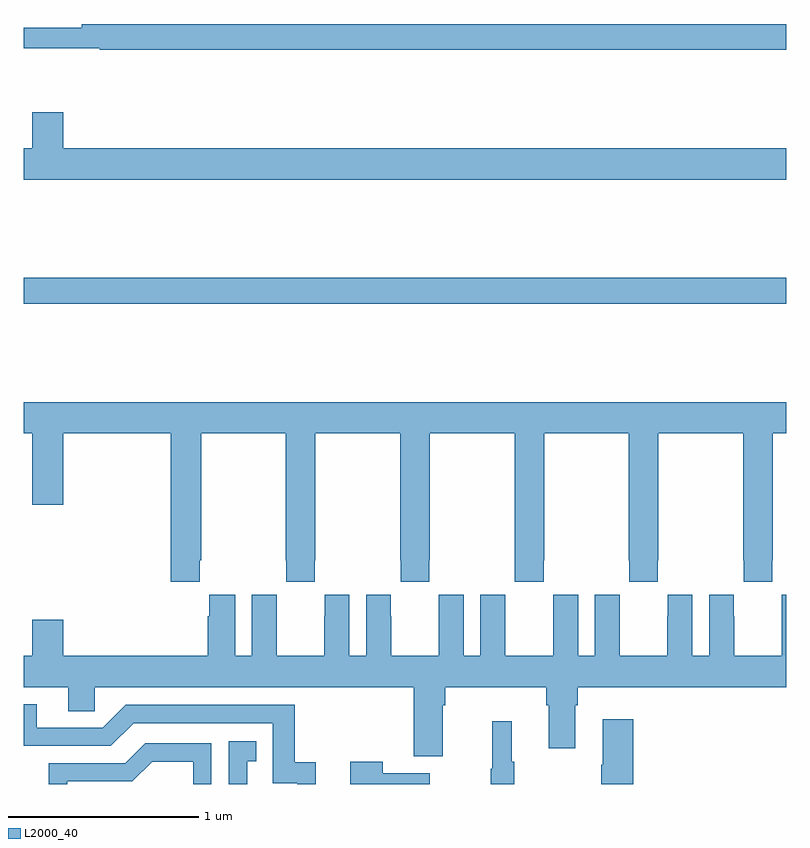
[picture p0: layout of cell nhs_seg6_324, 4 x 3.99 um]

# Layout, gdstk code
import gdstk
lib = gdstk.Library(unit=1e-6, precision=1e-09)
def R(c, l, rs):  # rectangles x0, y0, x1, y1
    for r in rs: c.add(gdstk.rectangle(r[:2], r[2:], *l))
def P(c, l, *ps):  # polygons
    for p in ps: c.add(gdstk.Polygon(p, *l))
L2000_40 = (2000, 40)

nhs_seg6_324 = lib.new_cell('nhs_seg6_324')
R(nhs_seg6_324, L2000_40, [(129,944.02,133,944.156)])
P(nhs_seg6_324, L2000_40, [(133,945.488),(129.304,945.488),(129.304,945.469),(129,945.469),(129,945.36),(129.398,945.36),(129.398,945.352),(133,945.352)],
  [(133,944.836),(129.208,944.836),(129.208,945.025),(129.044,945.025),(129.044,944.836),(129,944.836),(129,944.672),(133,944.672)],
  [(129.923,942.673),(129.93,942.673),(129.93,943.34),(130.375,943.34),(130.375,942.673),(130.377,942.673),(130.377,942.561),(130.527,942.561),(130.527,942.673),(130.53,942.673),(130.53,943.34),(130.975,943.34),(130.975,942.673),(130.977,942.673),(130.977,942.561),(131.127,942.561),(131.127,942.673),(131.13,942.673),(131.13,943.34),(131.575,943.34),(131.575,942.673),(131.577,942.673),(131.577,942.561),(131.727,942.561),(131.727,942.673),(131.73,942.673),(131.73,943.34),(132.175,943.34),(132.175,942.673),(132.177,942.673),(132.177,942.561),(132.327,942.561),(132.327,942.673),(132.33,942.673),(132.33,943.34),(132.775,943.34),(132.775,942.673),(132.777,942.673),(132.777,942.561),(132.927,942.561),(132.927,942.673),(132.93,942.673),(132.93,943.34),(133,943.34),(133,943.504),(129,943.504),(129,943.34),(129.044,943.34),(129.044,942.966),(129.208,942.966),(129.208,943.34),(129.77,943.34),(129.77,942.561),(129.923,942.561)],
  [(133,942.493),(132.978,942.493),(132.978,942.38),(132.977,942.38),(132.977,942.172),(132.727,942.172),(132.727,942.38),(132.726,942.38),(132.726,942.493),(132.596,942.493),(132.596,942.172),(132.508,942.172),(132.508,942.493),(132.378,942.493),(132.378,942.38),(132.377,942.38),(132.377,942.172),(132.127,942.172),(132.127,942.38),(132.126,942.38),(132.126,942.493),(131.996,942.493),(131.996,942.172),(131.908,942.172),(131.908,942.493),(131.778,942.493),(131.778,942.38),(131.777,942.38),(131.777,942.172),(131.527,942.172),(131.527,942.38),(131.526,942.38),(131.526,942.493),(131.396,942.493),(131.396,942.172),(131.308,942.172),(131.308,942.493),(131.178,942.493),(131.178,942.38),(131.177,942.38),(131.177,942.172),(130.927,942.172),(130.927,942.38),(130.926,942.38),(130.926,942.493),(130.796,942.493),(130.796,942.172),(130.708,942.172),(130.708,942.493),(130.578,942.493),(130.578,942.38),(130.577,942.38),(130.577,942.172),(130.327,942.172),(130.327,942.38),(130.326,942.38),(130.326,942.493),(130.196,942.493),(130.196,942.172),(130.108,942.172),(130.108,942.493),(129.974,942.493),(129.974,942.38),(129.965,942.38),(129.965,942.172),(129.208,942.172),(129.208,942.361),(129.044,942.361),(129.044,942.172),(129,942.172),(129,942.008),(129.233,942.008),(129.233,941.881),(129.372,941.881),(129.372,942.008),(131.045,942.008),(131.045,941.646),(131.197,941.646),(131.197,941.912),(131.21,941.912),(131.21,942.008),(131.741,942.008),(131.741,941.912),(131.753,941.912),(131.753,941.688),(131.893,941.688),(131.893,941.912),(131.906,941.912),(131.906,942.008),(133,942.008)],
  [(130.532,941.614),(130.421,941.614),(130.421,941.916),(129.534,941.916),(129.414,941.796),(129.067,941.796),(129.067,941.919),(129,941.919),(129,941.7),(129.456,941.7),(129.576,941.82),(130.305,941.82),(130.305,941.505),(130.434,941.505),(130.434,941.5),(130.532,941.5)],
  [(132.197,941.839),(132.038,941.839),(132.038,941.6),(132.031,941.6),(132.031,941.5),(132.197,941.5)],
  [(131.572,941.617),(131.561,941.617),(131.561,941.83),(131.458,941.83),(131.458,941.58),(131.451,941.58),(131.451,941.5),(131.572,941.5)],
  [(130.171,941.619),(130.22,941.619),(130.22,941.725),(130.074,941.725),(130.074,941.5),(130.171,941.5)],
  [(129.228,941.514),(129.57,941.514),(129.674,941.618),(129.888,941.618),(129.888,941.5),(129.984,941.5),(129.984,941.715),(129.638,941.715),(129.533,941.61),(129.13,941.61),(129.13,941.5),(129.228,941.5)],
  [(131.131,941.557),(130.883,941.557),(130.883,941.617),(130.712,941.617),(130.712,941.5),(131.131,941.5)])

lib.write_gds('nhs_seg6_324.gds')
